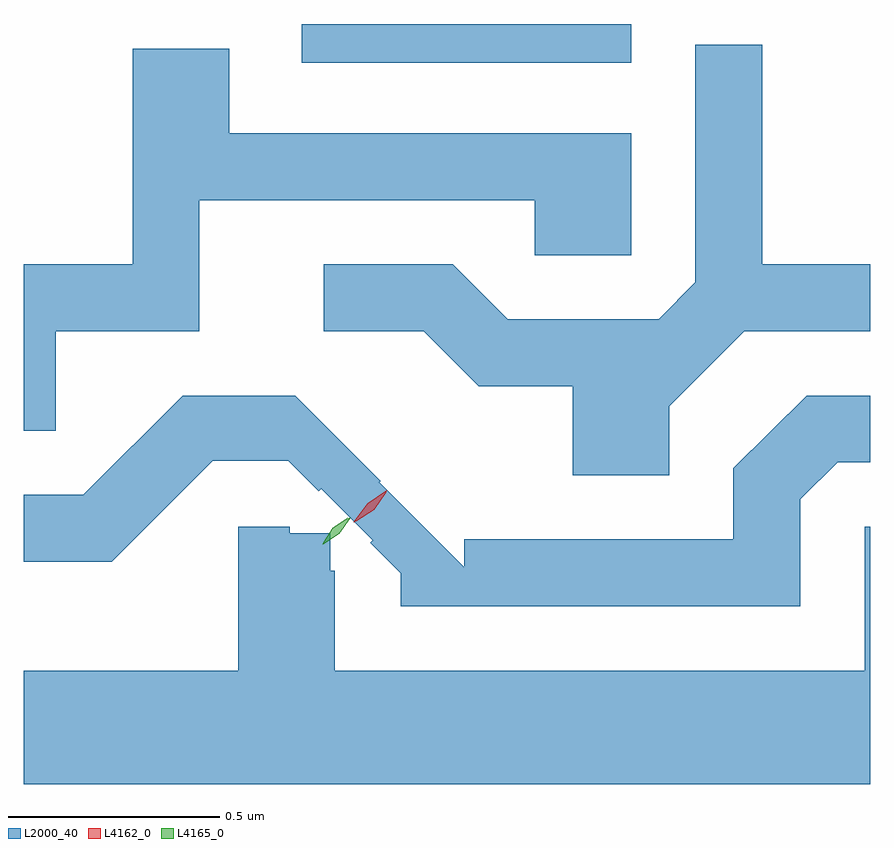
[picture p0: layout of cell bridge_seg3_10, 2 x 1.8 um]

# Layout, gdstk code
import gdstk
lib = gdstk.Library(unit=1e-6, precision=1e-09)
def R(c, l, rs):  # rectangles x0, y0, x1, y1
    for r in rs: c.add(gdstk.rectangle(r[:2], r[2:], *l))
def P(c, l, *ps):  # polygons
    for p in ps: c.add(gdstk.Polygon(p, *l))
L2000_40 = (2000, 40)
L4162_0 = (4162, 0)
L4165_0 = (4165, 0)

bridge_seg3_10 = lib.new_cell('bridge_seg3_10')
R(bridge_seg3_10, L2000_40, [(1882.071,1183.221,1882.849,1183.312)])
P(bridge_seg3_10, L2000_40, [(1882.939,1182.409),(1883.117,1182.586),(1883.414,1182.586),(1883.414,1182.744),(1883.159,1182.744),(1883.159,1183.263),(1883.001,1183.263),(1883.001,1182.702),(1882.914,1182.614),(1882.557,1182.614),(1882.427,1182.744),(1882.123,1182.744),(1882.123,1182.586),(1882.359,1182.586),(1882.489,1182.456),(1882.711,1182.456),(1882.711,1182.246),(1882.939,1182.246)],
  [(1881.489,1182.586),(1881.829,1182.586),(1881.829,1182.896),(1882.621,1182.896),(1882.621,1182.766),(1882.849,1182.766),(1882.849,1183.054),(1881.899,1183.054),(1881.899,1183.254),(1881.671,1183.254),(1881.671,1182.744),(1881.414,1182.744),(1881.414,1182.351),(1881.489,1182.351)],
  [(1883.249,1182.189),(1883.337,1182.276),(1883.414,1182.276),(1883.414,1182.434),(1883.264,1182.434),(1883.091,1182.262),(1883.091,1182.094),(1882.455,1182.094),(1882.455,1182.028),(1882.254,1182.229),(1882.257,1182.232),(1882.055,1182.434),(1881.789,1182.434),(1881.554,1182.199),(1881.414,1182.199),(1881.414,1182.041),(1881.622,1182.041),(1881.861,1182.28),(1882.039,1182.28),(1882.111,1182.208),(1882.117,1182.214),(1882.239,1182.092),(1882.233,1182.086),(1882.305,1182.014),(1882.305,1181.936),(1883.249,1181.936)],
  [(1883.414,1182.124),(1883.401,1182.124),(1883.401,1181.784),(1882.149,1181.784),(1882.149,1182.02),(1882.138,1182.02),(1882.138,1182.108),(1882.042,1182.108),(1882.042,1182.124),(1881.921,1182.124),(1881.921,1181.784),(1881.414,1181.784),(1881.414,1181.516),(1883.414,1181.516)])
P(bridge_seg3_10, L4162_0, [(1882.194,1182.135),(1882.194,1182.136),(1882.227,1182.18),(1882.272,1182.21),(1882.273,1182.21),(1882.273,1182.21),(1882.24,1182.166),(1882.195,1182.135)],
  [(1882.199,1182.137),(1882.199,1182.138),(1882.228,1182.178),(1882.271,1182.206),(1882.271,1182.206),(1882.271,1182.205),(1882.242,1182.164),(1882.2,1182.137)])
P(bridge_seg3_10, L4165_0, [(1882.12,1182.083),(1882.12,1182.084),(1882.146,1182.121),(1882.184,1182.145),(1882.185,1182.145),(1882.185,1182.144),(1882.159,1182.107),(1882.121,1182.083)],
  [(1882.122,1182.085),(1882.122,1182.086),(1882.144,1182.122),(1882.18,1182.145),(1882.18,1182.145),(1882.18,1182.144),(1882.158,1182.108),(1882.123,1182.085)])

lib.write_gds('bridge_seg3_10.gds')
